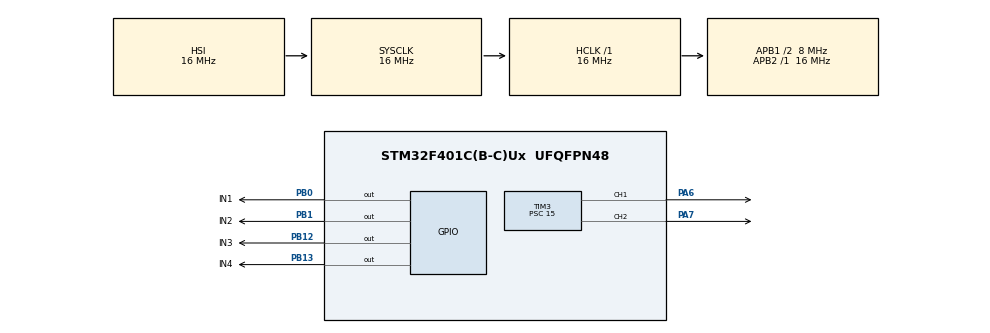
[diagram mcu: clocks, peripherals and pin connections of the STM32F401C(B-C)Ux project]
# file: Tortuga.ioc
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Mcu.Family=STM32F4
Mcu.Name=STM32F401C(B-C)Ux
Mcu.Package=UFQFPN48
NVIC.PriorityGroup=NVIC_PRIORITYGROUP_4
PA13.Mode=Serial_Wire
PA13.Signal=SYS_JTMS-SWDIO
PA14.Mode=Serial_Wire
PA14.Signal=SYS_JTCK-SWCLK
PA6.Signal=S_TIM3_CH1
PA7.Signal=S_TIM3_CH2
PB0.GPIO_Label=IN1
PB0.Signal=GPIO_Output
PB1.GPIO_Label=IN2
PB1.Signal=GPIO_Output
PB12.GPIO_Label=IN3
PB12.Signal=GPIO_Output
PB13.GPIO_Label=IN4
PB13.Signal=GPIO_Output
ProjectManager.HeapSize=0x200
ProjectManager.StackSize=0x400
ProjectManager.TargetToolchain=CMake
RCC.48MHZClocksFreq_Value=42000000
RCC.AHBFreq_Value=16000000
RCC.APB1CLKDivider=RCC_HCLK_DIV2
RCC.APB1Freq_Value=8000000
RCC.APB1TimFreq_Value=16000000
RCC.APB2Freq_Value=16000000
RCC.APB2TimFreq_Value=16000000
RCC.CortexFreq_Value=16000000
RCC.HCLKFreq_Value=16000000
RCC.HSE_VALUE=25000000
RCC.HSI_VALUE=16000000
RCC.LSE_VALUE=32768
RCC.PLLM=8
RCC.PLLN=84
RCC.SYSCLKFreq_VALUE=16000000
RCC.VCOOutputFreq_Value=168000000
SH.S_TIM3_CH1.0=TIM3_CH1,PWM Generation1 CH1
SH.S_TIM3_CH2.0=TIM3_CH2,PWM Generation2 CH2
TIM3.AutoReloadPreload=TIM_AUTORELOAD_PRELOAD_DISABLE
TIM3.Channel-PWM\ Generation1\ CH1=TIM_CHANNEL_1
TIM3.Channel-PWM\ Generation2\ CH2=TIM_CHANNEL_2
TIM3.Period=999
TIM3.Prescaler=15
VP_TIM3_VS_ClockSourceINT.Mode=Internal
board=custom

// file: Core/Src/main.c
/* USER CODE BEGIN Header */
/**
  ******************************************************************************
  * @file           : main.c
  * @brief          : Main program body
  ******************************************************************************
  * @attention
  *
  * Copyright (c) 2026 STMicroelectronics.
  * All rights reserved.
  *
  * This software is licensed under terms that can be found in the LICENSE file
  * in the root directory of this software component.
  * If no LICENSE file comes with this software, it is provided AS-IS.
  *
  ******************************************************************************
  */
/* USER CODE END Header */
#include "main.h"
#include "tim.h"
#include "gpio.h"

/* USER CODE BEGIN PD */

/* USER CODE BEGIN PD */
#define PWM_MAX 999
#define ESCALA  250
/* USER CODE END PD */

/* USER CODE END PD */

void SystemClock_Config(void);

/* USER CODE BEGIN 0 */

static void esperar(uint32_t ms)
{
    HAL_Delay((ms * ESCALA) / 100);
}

void motorIzq_vel(uint8_t p)
{
    __HAL_TIM_SET_COMPARE(&htim3, TIM_CHANNEL_1, (p * PWM_MAX) / 100);
}

void motorDer_vel(uint8_t p)
{
    __HAL_TIM_SET_COMPARE(&htim3, TIM_CHANNEL_2, (p * PWM_MAX) / 100);
}

// 1 = adelante, -1 = atrás, 0 = parado
void motorIzq_dir(int8_t d)
{
    HAL_GPIO_WritePin(IN1_GPIO_Port, IN1_Pin, d ==  1 ? GPIO_PIN_SET : GPIO_PIN_RESET);
    HAL_GPIO_WritePin(IN2_GPIO_Port, IN2_Pin, d == -1 ? GPIO_PIN_SET : GPIO_PIN_RESET);
}

void motorDer_dir(int8_t d)
{
    HAL_GPIO_WritePin(IN3_GPIO_Port, IN3_Pin, d ==  1 ? GPIO_PIN_SET : GPIO_PIN_RESET);
    HAL_GPIO_WritePin(IN4_GPIO_Port, IN4_Pin, d == -1 ? GPIO_PIN_SET : GPIO_PIN_RESET);
}

void mover(int8_t dirI, uint8_t velI, int8_t dirD, uint8_t velD)
{
    motorIzq_dir(dirI);  motorIzq_vel(velI);
    motorDer_dir(dirD);  motorDer_vel(velD);
}

void detener(void)
{
    mover(0, 0, 0, 0);
}

// ===== SECUENCIAS (cada una regresa al punto de partida) =====

// 1) Avance con rampa de PWM y regreso con la misma rampa
void secuencia1_avance_rampa(void)
{
    for (uint8_t v = 30; v <= 100; v += 10)
    {
        mover(1, v, 1, v);
        esperar(200);
    }
    for (uint8_t v = 100; v >= 30; v -= 10)
    {
        mover(-1, v, -1, v);
        esperar(200);
    }
    detener();
    esperar(500);
}

// 2) Giro a la derecha sobre su eje
void secuencia2_giro_derecha(void)
{
    mover(1, 70, -1, 70);
    esperar(1000);
    detener();
    esperar(300);
}

// 3) Giro a la izquierda (deshace el anterior)
void secuencia3_giro_izquierda(void)
{
    mover(-1, 70, 1, 70);
    esperar(1000);
    detener();
    esperar(300);
}

// 4) Avance y retroceso
void secuencia4_retroceso(void)
{
    mover(1, 60, 1, 60);
    esperar(800);
    detener();
    esperar(300);
    mover(-1, 60, -1, 60);
    esperar(800);
    detener();
    esperar(500);
}

// 5) Curva y la misma curva en reversa
void secuencia5_curva(void)
{
    mover(1, 90, 1, 40);
    esperar(800);
    mover(-1, 90, -1, 40);
    esperar(800);
    detener();
    esperar(500);
}

// 6) Zigzag que se compensa al volver
void secuencia6_zigzag(void)
{
    mover(1, 100, 1, 50);   esperar(500);
    mover(1, 50, 1, 100);   esperar(500);
    mover(-1, 50, -1, 100); esperar(500);
    mover(-1, 100, -1, 50); esperar(500);
    detener();
    esperar(500);
}

/* USER CODE END 0 */

int main(void)
{

  /* MCU Configuration--------------------------------------------------------*/

  /* Reset of all peripherals, Initializes the Flash interface and the Systick. */
  HAL_Init();

  /* Configure the system clock */
  SystemClock_Config();

  /* Initialize all configured peripherals */
  MX_GPIO_Init();
  MX_TIM3_Init();
  /* USER CODE BEGIN 2 */

/* USER CODE BEGIN 2 */
  /* USER CODE BEGIN 2 */
  HAL_TIM_PWM_Start(&htim3, TIM_CHANNEL_1);
  HAL_TIM_PWM_Start(&htim3, TIM_CHANNEL_2);
  detener();
  HAL_Delay(1000);
  /* USER CODE END 2 */
     while (1)
  {
    /* USER CODE END WHILE */

    /* USER CODE BEGIN 3 */
    secuencia1_avance_rampa();
    secuencia2_giro_derecha();
    secuencia3_giro_izquierda();
    secuencia4_retroceso();
    secuencia5_curva();
    secuencia6_zigzag();
    HAL_Delay(1000);
  }
  /* USER CODE END 3 */

  /* USER CODE END 2 */

  /* Infinite loop */
  while (1)
  {

  }
}

void SystemClock_Config(void)
{
  RCC_OscInitTypeDef RCC_OscInitStruct = {0};
  RCC_ClkInitTypeDef RCC_ClkInitStruct = {0};

  /** Configure the main internal regulator output voltage
  */
  __HAL_RCC_PWR_CLK_ENABLE();
  __HAL_PWR_VOLTAGESCALING_CONFIG(PWR_REGULATOR_VOLTAGE_SCALE2);

  /** Initializes the RCC Oscillators according to the specified parameters
  * in the RCC_OscInitTypeDef structure.
  */
  RCC_OscInitStruct.OscillatorType = RCC_OSCILLATORTYPE_HSI;
  RCC_OscInitStruct.HSIState = RCC_HSI_ON;
  RCC_OscInitStruct.HSICalibrationValue = RCC_HSICALIBRATION_DEFAULT;
  RCC_OscInitStruct.PLL.PLLState = RCC_PLL_NONE;
  if (HAL_RCC_OscConfig(&RCC_OscInitStruct) != HAL_OK)
  {
    Error_Handler();
  }

  /** Initializes the CPU, AHB and APB buses clocks
  */
  RCC_ClkInitStruct.ClockType = RCC_CLOCKTYPE_HCLK|RCC_CLOCKTYPE_SYSCLK
                              |RCC_CLOCKTYPE_PCLK1|RCC_CLOCKTYPE_PCLK2;
  RCC_ClkInitStruct.SYSCLKSource = RCC_SYSCLKSOURCE_HSI;
  RCC_ClkInitStruct.AHBCLKDivider = RCC_SYSCLK_DIV1;
  RCC_ClkInitStruct.APB1CLKDivider = RCC_HCLK_DIV2;
  RCC_ClkInitStruct.APB2CLKDivider = RCC_HCLK_DIV1;

  if (HAL_RCC_ClockConfig(&RCC_ClkInitStruct, FLASH_LATENCY_0) != HAL_OK)
  {
    Error_Handler();
  }
}

void Error_Handler(void)
{
  __disable_irq();
  while (1)
  {
  }
}
